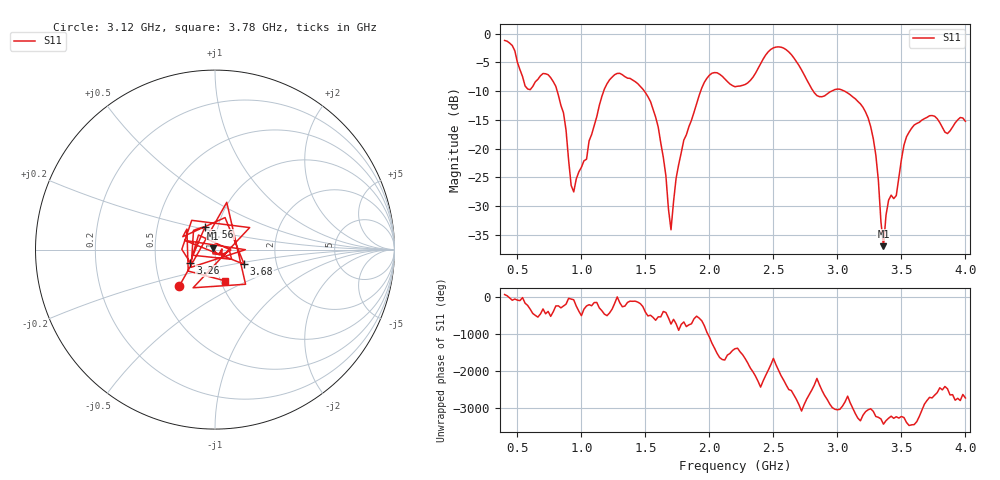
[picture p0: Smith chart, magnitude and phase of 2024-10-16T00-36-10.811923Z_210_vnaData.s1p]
! Created with skrf (http://scikit-rf.org).
# Hz S RI R 50.0
!freq ReS11 ImS11
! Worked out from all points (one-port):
!   181 points, 400 MHz to 4 GHz, reference 50 ohm
!   lowest |S11| = -37.0 dB at 3.36 GHz (marker M1), VSWR 1.03, Z = 48.8 + j0.727 ohm
!   |S11| at or under -10 dB: 810.9 MHz to 1.174 GHz (363.1 MHz wide, 36.6 % of centre); 1.492 GHz to 1.932 GHz (439.8 MHz wide, 25.7 % of centre); 3.056 GHz to end of sweep (the widest 3 of 4)
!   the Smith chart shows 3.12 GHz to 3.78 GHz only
!   S11 on the Smith chart (normalised r, x): 3.12 GHz: 0.62, -0.27; 3.26 GHz: 0.75, -0.11; 3.56 GHz: 0.87, +0.23; 3.68 GHz: 1.37, -0.23; 3.78 GHz: 1.05, -0.38
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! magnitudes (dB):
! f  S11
! 400 MHz  -1.2
! 560 MHz  -9.1
! 740 MHz  -7.1
! 860 MHz  -13.8
! 940 MHz  -27.5
! 1.18 GHz  -9.6
! 1.3 GHz  -6.9
! 1.56 GHz  -13.1
! 1.64 GHz  -21.5
! 1.7 GHz  -34.1
! 1.76 GHz  -22.8
! 1.98 GHz  -7.8
! 2.2 GHz  -9.2
! 2.5 GHz  -2.5
! 2.66 GHz  -4.2
! 2.84 GHz  -10.8
! 3.1 GHz  -10.6
! 3.12 GHz  -11.0
! 3.26 GHz  -16.2
! 3.3 GHz  -21.1
! 3.36 GHz  -37.0
! 3.4 GHz  -29.0
! 3.46 GHz  -28.2
! 3.56 GHz  -17.1
! 3.68 GHz  -14.8
! 3.78 GHz  -14.8
! 3.86 GHz  -17.4
! 4 GHz  -15.2
